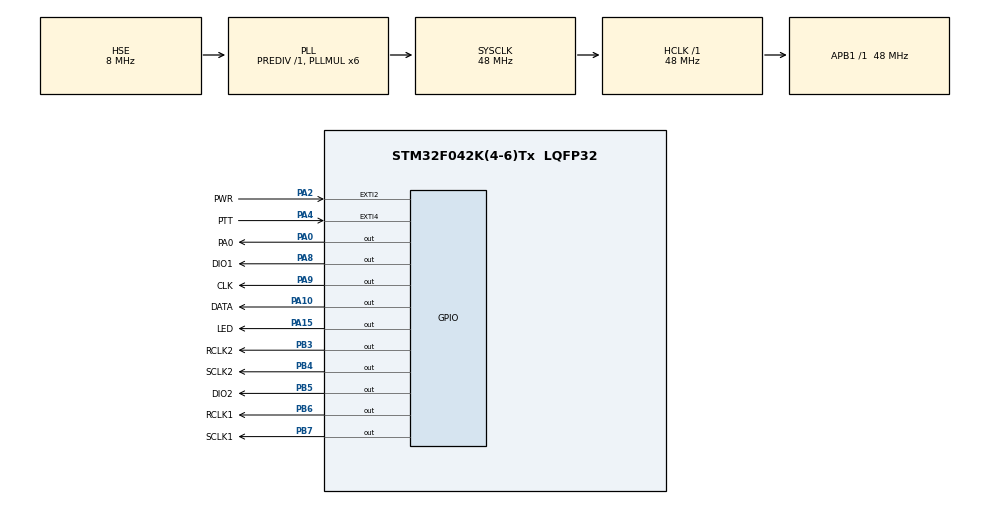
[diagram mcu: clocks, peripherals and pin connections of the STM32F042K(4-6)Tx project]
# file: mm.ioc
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IWDG.Reload=4000
IWDG.Window=4000
Mcu.Family=STM32F0
Mcu.Name=STM32F042K(4-6)Tx
Mcu.Package=LQFP32
NVIC.EXTI2_3_IRQn=true\:2\:0\:true\:false\:true\:true\:true\:true
NVIC.EXTI4_15_IRQn=true\:1\:0\:true\:false\:true\:true\:true\:true
PA0.GPIO_Label=PA0
PA0.Signal=GPIO_Output
PA10.GPIO_Label=DATA
PA10.Signal=GPIO_Output
PA13.Mode=Serial_Wire
PA13.Signal=SYS_SWDIO
PA14.Mode=Serial_Wire
PA14.Signal=SYS_SWCLK
PA15.GPIO_Label=LED
PA15.Signal=GPIO_Output
PA2.GPIO_Label=PWR
PA2.Signal=GPXTI2
PA4.GPIO_Label=PTT
PA4.GPIO_ModeDefaultEXTI=GPIO_MODE_IT_RISING
PA4.Signal=GPXTI4
PA8.GPIO_Label=DIO1
PA8.Signal=GPIO_Output
PA9.GPIO_Label=CLK
PA9.Signal=GPIO_Output
PB3.GPIO_Label=RCLK2
PB3.Signal=GPIO_Output
PB4.GPIO_Label=SCLK2
PB4.Signal=GPIO_Output
PB5.GPIO_Label=DIO2
PB5.Signal=GPIO_Output
PB6.GPIO_Label=RCLK1
PB6.Signal=GPIO_Output
PB7.GPIO_Label=SCLK1
PB7.Signal=GPIO_Output
PF0-OSC_IN.Mode=HSE-External-Oscillator
PF0-OSC_IN.Signal=RCC_OSC_IN
PF1-OSC_OUT.Mode=HSE-External-Oscillator
PF1-OSC_OUT.Signal=RCC_OSC_OUT
ProjectManager.HeapSize=0x200
ProjectManager.StackSize=0x400
ProjectManager.TargetToolchain=MDK-ARM V5.32
RCC.AHBFreq_Value=48000000
RCC.APB1Freq_Value=48000000
RCC.APB1TimFreq_Value=48000000
RCC.HCLKFreq_Value=48000000
RCC.I2c1ClockSelection=RCC_I2C1CLKSOURCE_SYSCLK
RCC.PLLMUL=RCC_PLL_MUL6
RCC.PLLSourceVirtual=RCC_PLLSOURCE_HSE
RCC.SYSCLKFreq_VALUE=48000000
RCC.SYSCLKSource=RCC_SYSCLKSOURCE_PLLCLK
RCC.VDD_VALUE=2.5
VP_IWDG_VS_IWDG.Mode=IWDG_Activate
board=custom

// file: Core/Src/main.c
/* USER CODE BEGIN Header */
/**
  ******************************************************************************
  * @file           : main.c
  * @brief          : Main program body
  ******************************************************************************
  * @attention
  *
  * Copyright (c) 2024 STMicroelectronics.
  * All rights reserved.
  *
  * This software is licensed under terms that can be found in the LICENSE file
  * in the root directory of this software component.
  * If no LICENSE file comes with this software, it is provided AS-IS.
  *
  ******************************************************************************
  */
/* USER CODE END Header */
#include "main.h"
#include "iwdg.h"
#include "gpio.h"

/* USER CODE BEGIN Includes */
#include "delay.h"
#include "bk4802.h"
#include "segment_display.h"
#include "exti.h"

/* USER CODE END Includes */

void SystemClock_Config(void);

int main(void)
{

  /* MCU Configuration--------------------------------------------------------*/

  /* Reset of all peripherals, Initializes the Flash interface and the Systick. */
  HAL_Init();

  /* Configure the system clock */
  SystemClock_Config();

  /* Initialize all configured peripherals */
  MX_GPIO_Init();
  MX_IWDG_Init();
  /* USER CODE BEGIN 2 */
	HAL_GPIO_WritePin(LED_GPIO_Port, LED_Pin, GPIO_PIN_SET); //Turn on the LED to indicate that the script is active.
	HAL_GPIO_WritePin(PA0_GPIO_Port, PA0_Pin, GPIO_PIN_SET); //Enable CE, turn on LED1.
	DBH_DelayMS(1000);

	DBH_WriteTo4802(IC_ADDR, 23, 0x60, 0xFF);
	//reg_addr=23
	//B15: 0-Disable Power Saving
	//B14-B13: 11(3)-RX Active Period in Power Saving Mode=192ms
	//B12-B11: 00(0)-Sleep Period in Power Saving Mode=384ms
	//B08: 0-PIN7 is CALL, PIN24 is RSSI
	//B07-B00: 0xFF(255)-Ex-noise Threshold for Speaker ON Condition
	//0x00=speaker always off (during test)

	DBH_SetRXMode();

	DBH_WriteTo4802(IC_ADDR, 32, 0x31, 0xFF);
	//reg_addr=32
	//B14: 0-ASK Data Decision by Averaged Value
	//B13: 1-Average Speed=1024 samples
	//B12: 1-Bypass Low Pass Filter
	//B08: 1-RX Volume set by REG32<07:00>
	//B07-B00: 0xFF(255)-Set the Volume of RX Audio

	DBH_SetRXFreq(0x5259, 0xC651);
	DBH_SetNum(437, 625);
  /* USER CODE END 2 */

  /* Infinite loop */
  while (1)
  {

    /* USER CODE BEGIN 3 */
		//Blink the LED.
		HAL_GPIO_TogglePin(LED_GPIO_Port, LED_Pin);
		DBH_DelayMS(100);

		if (freq_lock!=0 && ptt_cnt==0) //When PTT is pressed, switch the RX frequency.
		{
			switch(freq_channel_state)
			{
				//BY1CP
				case 0:
					DBH_SetRXFreq(0x52A8, 0x149F);
					DBH_SetNum(439, 250);
					break;

				//Satellite TEVEL series, considering the Doppler effect.
				case 1:
					DBH_SetRXFreq(0x521F, 0x39E5);
					DBH_SetNum(436, 410);
					break;
				case 2:
					DBH_SetRXFreq(0x521E, 0xFC27);
					DBH_SetNum(436, 405);
					break;
				case 3:
					DBH_SetRXFreq(0x521E, 0xBE69);
					DBH_SetNum(436, 400);
					break;
				case 4:
					DBH_SetRXFreq(0x521E, 0x80AB);
					DBH_SetNum(436, 395);
					break;
				case 5:
					DBH_SetRXFreq(0x521E, 0x434E);
					DBH_SetNum(436, 390);
					break;

				//Satellite ISS, considering the Doppler effect.
				case 6:
					DBH_SetRXFreq(0x5262, 0xB07B);
					DBH_SetNum(437, 810);
					break;
				case 7:
					DBH_SetRXFreq(0x5262, 0x72BE);
					DBH_SetNum(437, 805);
					break;
				case 8:
					DBH_SetRXFreq(0x5262, 0x3500);
					DBH_SetNum(437, 800);
					break;
				case 9:
					DBH_SetRXFreq(0x5261, 0xF7A2);
					DBH_SetNum(437, 795);
					break;
				case 10:
					DBH_SetRXFreq(0x5261, 0xB9E5);
					DBH_SetNum(437, 790);
					break;

				//Satellite RS40s. Happy Children's Day!
				case 11:
					DBH_SetRXFreq(0x5259, 0xC651);
					DBH_SetNum(437, 625);
					break;
				default: break;
			}

			freq_lock = 0; //Release the freq_lock to indicate that the frequency has changed.
		}
  }
  /* USER CODE END 3 */
}

void SystemClock_Config(void)
{
  RCC_OscInitTypeDef RCC_OscInitStruct = {0};
  RCC_ClkInitTypeDef RCC_ClkInitStruct = {0};

  /** Initializes the RCC Oscillators according to the specified parameters
  * in the RCC_OscInitTypeDef structure.
  */
  RCC_OscInitStruct.OscillatorType = RCC_OSCILLATORTYPE_LSI|RCC_OSCILLATORTYPE_HSE;
  RCC_OscInitStruct.HSEState = RCC_HSE_ON;
  RCC_OscInitStruct.LSIState = RCC_LSI_ON;
  RCC_OscInitStruct.PLL.PLLState = RCC_PLL_ON;
  RCC_OscInitStruct.PLL.PLLSource = RCC_PLLSOURCE_HSE;
  RCC_OscInitStruct.PLL.PLLMUL = RCC_PLL_MUL6;
  RCC_OscInitStruct.PLL.PREDIV = RCC_PREDIV_DIV1;
  if (HAL_RCC_OscConfig(&RCC_OscInitStruct) != HAL_OK)
  {
    Error_Handler();
  }

  /** Initializes the CPU, AHB and APB buses clocks
  */
  RCC_ClkInitStruct.ClockType = RCC_CLOCKTYPE_HCLK|RCC_CLOCKTYPE_SYSCLK
                              |RCC_CLOCKTYPE_PCLK1;
  RCC_ClkInitStruct.SYSCLKSource = RCC_SYSCLKSOURCE_PLLCLK;
  RCC_ClkInitStruct.AHBCLKDivider = RCC_SYSCLK_DIV1;
  RCC_ClkInitStruct.APB1CLKDivider = RCC_HCLK_DIV1;

  if (HAL_RCC_ClockConfig(&RCC_ClkInitStruct, FLASH_LATENCY_1) != HAL_OK)
  {
    Error_Handler();
  }
}

void Error_Handler(void)
{
  __disable_irq();
  while (1)
  {
  }
}
